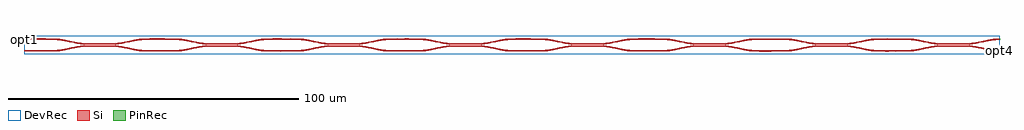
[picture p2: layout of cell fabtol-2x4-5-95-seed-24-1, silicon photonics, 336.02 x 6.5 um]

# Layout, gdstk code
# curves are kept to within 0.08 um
import gdstk
lib = gdstk.Library(unit=1e-6, precision=1e-09)
def R(c, l, rs):  # rectangles x0, y0, x1, y1
    for r in rs: c.add(gdstk.rectangle(r[:2], r[2:], *l))
def P(c, l, *ps):  # polygons
    for p in ps: c.add(gdstk.Polygon(p, *l))
Si = (1, 0)
PinRec = (1, 10)
DevRec = (68, 0)

layer_3_0_phase_sec_1_33 = lib.new_cell('layer-3_0_phase_sec_1$33')
P(layer_3_0_phase_sec_1_33, Si, [(2.136,-0.254),(0,-0.225),(0,0.225),(10,0.225),(10,-0.225)])

layer_3_0_phase_sec_0_33 = lib.new_cell('layer-3_0_phase_sec_0$33')
P(layer_3_0_phase_sec_0_33, Si, [(0,-0.225),(0,0.225),(10,0.225),(10,-0.225)])

layer_0_0_phase_sec_0_33 = lib.new_cell('layer-0_0_phase_sec_0$33')
P(layer_0_0_phase_sec_0_33, Si, [(5.92,-0.243),(0,-0.225),(0,0.225),(10,0.225),(10,-0.225)])

layer_0_0_phase_sec_1_33 = lib.new_cell('layer-0_0_phase_sec_1$33')
P(layer_0_0_phase_sec_1_33, Si, [(3.632,-0.233),(0,-0.225),(0,0.225),(10,0.225),(10,-0.225)])

dc_arm_down_33 = lib.new_cell('dc_arm_down$33')
R(dc_arm_down_33, Si, [(12,-0.55,20,-0.1)])
P(dc_arm_down_33, Si, [(32,-2.225),(30.861,-2.188),(29.344,-2.033),(22.966,-0.793),(21.481,-0.613),(20,-0.55),(20,-0.1),(21.139,-0.137),(22.656,-0.292),(29.034,-1.532),(30.519,-1.712),(32,-1.775)],
  [(0,-2.225),(0,-1.775),(1.481,-1.712),(2.966,-1.532),(9.344,-0.292),(10.861,-0.137),(12,-0.1),(12,-0.55),(10.519,-0.613),(9.034,-0.793),(2.656,-2.033),(1.139,-2.188)])

dc_arm_up_33 = lib.new_cell('dc_arm_up$33')
R(dc_arm_up_33, Si, [(12,0.1,20,0.55)])
P(dc_arm_up_33, Si, [(20,0.1),(20,0.55),(21.481,0.613),(22.966,0.793),(29.344,2.033),(30.861,2.188),(32,2.225),(32,1.775),(30.519,1.712),(29.034,1.532),(22.656,0.292),(21.139,0.137)],
  [(12,0.1),(10.861,0.137),(9.344,0.292),(2.966,1.532),(1.481,1.712),(0,1.775),(0,2.225),(1.139,2.188),(2.656,2.033),(9.034,0.793),(10.519,0.613),(12,0.55)])

dc_33 = lib.new_cell('dc$33')
dc_33.add(gdstk.Reference(dc_arm_down_33, (0,0)))
dc_33.add(gdstk.Reference(dc_arm_up_33, (0,0)))

layer_0_0_phase_sec_2_33 = lib.new_cell('layer-0_0_phase_sec_2$33')
P(layer_0_0_phase_sec_2_33, Si, [(3.905,-0.251),(0,-0.225),(0,0.225),(10,0.225),(10,-0.225)])

layer_1_0_phase_sec_3_33 = lib.new_cell('layer-1_0_phase_sec_3$33')
P(layer_1_0_phase_sec_3_33, Si, [(5.63,-0.239),(0,-0.225),(0,0.225),(10,0.225),(10,-0.225)])

layer_0_0_phase_sec_3_33 = lib.new_cell('layer-0_0_phase_sec_3$33')
P(layer_0_0_phase_sec_3_33, Si, [(1.067,-0.227),(0,-0.225),(0,0.225),(10,0.225),(10,-0.225)])

layer_2_0_phase_sec_0_33 = lib.new_cell('layer-2_0_phase_sec_0$33')
P(layer_2_0_phase_sec_0_33, Si, [(3.923,-0.24),(0,-0.225),(0,0.225),(10,0.225),(10,-0.225)])

layer_3_0_phase_sec_3_33 = lib.new_cell('layer-3_0_phase_sec_3$33')
P(layer_3_0_phase_sec_3_33, Si, [(2.436,-0.241),(0,-0.225),(0,0.225),(10,0.225),(10,-0.225)])

layer_1_0_phase_sec_0_33 = lib.new_cell('layer-1_0_phase_sec_0$33')
P(layer_1_0_phase_sec_0_33, Si, [(3.148,-0.24),(0,-0.225),(0,0.225),(10,0.225),(10,-0.225)])

layer_2_0_phase_sec_1_33 = lib.new_cell('layer-2_0_phase_sec_1$33')
P(layer_2_0_phase_sec_1_33, Si, [(5.683,-0.239),(0,-0.225),(0,0.225),(10,0.225),(10,-0.225)])

layer_3_0_phase_sec_2_33 = lib.new_cell('layer-3_0_phase_sec_2$33')
P(layer_3_0_phase_sec_2_33, Si, [(3.229,-0.237),(0,-0.225),(0,0.225),(10,0.225),(10,-0.225)])

layer_1_0_phase_sec_1_33 = lib.new_cell('layer-1_0_phase_sec_1$33')
P(layer_1_0_phase_sec_1_33, Si, [(4.308,-0.24),(0,-0.225),(0,0.225),(10,0.225),(10,-0.225)])

layer_1_0_phase_sec_2_33 = lib.new_cell('layer-1_0_phase_sec_2$33')
P(layer_1_0_phase_sec_2_33, Si, [(5.12,-0.238),(0,-0.225),(0,0.225),(10,0.225),(10,-0.225)])

layer_2_0_phase_sec_2_33 = lib.new_cell('layer-2_0_phase_sec_2$33')
P(layer_2_0_phase_sec_2_33, Si, [(2.873,-0.248),(0,-0.225),(0,0.225),(10,0.225),(10,-0.225)])

layer_2_0_phase_sec_3_33 = lib.new_cell('layer-2_0_phase_sec_3$33')
P(layer_2_0_phase_sec_3_33, Si, [(1.35,-0.231),(0,-0.225),(0,0.225),(10,0.225),(10,-0.225)])

fabtol_2x4_5_95_seed_24_ = lib.new_cell('fabtol-2x4-5-95-seed-24-1')
R(fabtol_2x4_5_95_seed_24_, DevRec, [(0,-1,336,5.505)])
fabtol_2x4_5_95_seed_24_.add(gdstk.FlexPath([(335.99,0.254),(336.01,0.254)], 0.45, ends="flush", simple_path=True, layer=1, datatype=10))  # PinRec
fabtol_2x4_5_95_seed_24_.add(gdstk.FlexPath([(335.99,4.254),(336.01,4.254)], 0.45, ends="flush", simple_path=True, layer=1, datatype=10))  # PinRec
fabtol_2x4_5_95_seed_24_.add(gdstk.FlexPath([(0.01,4.254),(-0.01,4.254)], 0.45, ends="flush", simple_path=True, layer=1, datatype=10))  # PinRec
fabtol_2x4_5_95_seed_24_.add(gdstk.Reference(layer_3_0_phase_sec_1_33, (252,0.254)))
fabtol_2x4_5_95_seed_24_.add(gdstk.Reference(layer_3_0_phase_sec_0_33, (252,4.254)))
fabtol_2x4_5_95_seed_24_.add(gdstk.Reference(layer_0_0_phase_sec_0_33, (0,4.254)))
fabtol_2x4_5_95_seed_24_.add(gdstk.Reference(layer_0_0_phase_sec_1_33, (0,0.254)))
fabtol_2x4_5_95_seed_24_.add(gdstk.Reference(dc_33, (10,2.254)))
fabtol_2x4_5_95_seed_24_.add(gdstk.Reference(dc_33, (52,2.254)))
fabtol_2x4_5_95_seed_24_.add(gdstk.Reference(dc_33, (94,2.254)))
fabtol_2x4_5_95_seed_24_.add(gdstk.Reference(dc_33, (136,2.254)))
fabtol_2x4_5_95_seed_24_.add(gdstk.Reference(dc_33, (178,2.254)))
fabtol_2x4_5_95_seed_24_.add(gdstk.Reference(dc_33, (220,2.254)))
fabtol_2x4_5_95_seed_24_.add(gdstk.Reference(dc_33, (262,2.254)))
fabtol_2x4_5_95_seed_24_.add(gdstk.Reference(dc_33, (304,2.254)))
fabtol_2x4_5_95_seed_24_.add(gdstk.Reference(layer_0_0_phase_sec_2_33, (42,4.254)))
fabtol_2x4_5_95_seed_24_.add(gdstk.Reference(layer_1_0_phase_sec_3_33, (126,0.254)))
fabtol_2x4_5_95_seed_24_.add(gdstk.Reference(layer_0_0_phase_sec_3_33, (42,0.254)))
fabtol_2x4_5_95_seed_24_.add(gdstk.Reference(layer_2_0_phase_sec_0_33, (168,4.254)))
fabtol_2x4_5_95_seed_24_.add(gdstk.Reference(layer_3_0_phase_sec_3_33, (294,0.254)))
fabtol_2x4_5_95_seed_24_.add(gdstk.Reference(layer_1_0_phase_sec_0_33, (84,4.254)))
fabtol_2x4_5_95_seed_24_.add(gdstk.Reference(layer_2_0_phase_sec_1_33, (168,0.254)))
fabtol_2x4_5_95_seed_24_.add(gdstk.Reference(layer_3_0_phase_sec_2_33, (294,4.254)))
fabtol_2x4_5_95_seed_24_.add(gdstk.Reference(layer_1_0_phase_sec_1_33, (84,0.254)))
fabtol_2x4_5_95_seed_24_.add(gdstk.Reference(layer_1_0_phase_sec_2_33, (126,4.254)))
fabtol_2x4_5_95_seed_24_.add(gdstk.Reference(layer_2_0_phase_sec_2_33, (210,4.254)))
fabtol_2x4_5_95_seed_24_.add(gdstk.Reference(layer_2_0_phase_sec_3_33, (210,0.254)))
fabtol_2x4_5_95_seed_24_.add(gdstk.Label('opt4', (336,0.254), layer=1, texttype=10))
fabtol_2x4_5_95_seed_24_.add(gdstk.Label('opt3', (336,4.254), layer=1, texttype=10))
fabtol_2x4_5_95_seed_24_.add(gdstk.Label('opt1', (0,4.254), layer=1, texttype=10))

lib.write_gds('fabtol-2x4-5-95-seed-24-1.gds')
